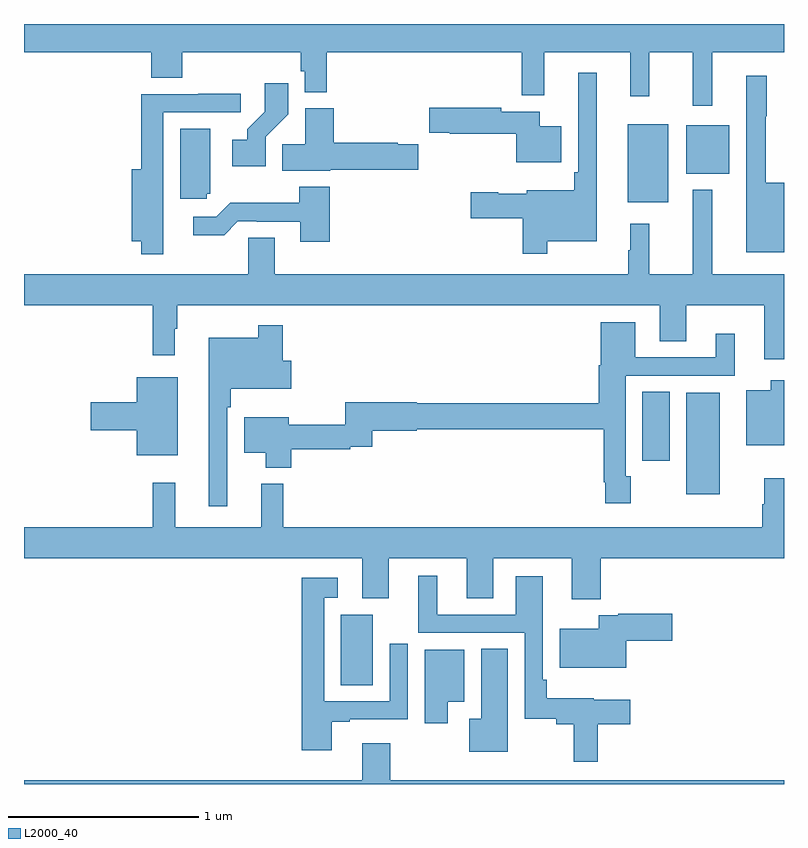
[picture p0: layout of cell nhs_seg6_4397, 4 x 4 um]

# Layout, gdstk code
import gdstk
lib = gdstk.Library(unit=1e-6, precision=1e-09)
def R(c, l, rs):  # rectangles x0, y0, x1, y1
    for r in rs: c.add(gdstk.rectangle(r[:2], r[2:], *l))
def P(c, l, *ps):  # polygons
    for p in ps: c.add(gdstk.Polygon(p, *l))
L2000_40 = (2000, 40)

nhs_seg6_4397 = lib.new_cell('nhs_seg6_4397')
R(nhs_seg6_4397, L2000_40, [(372.668,928.021,372.835,928.392), (374.486,929.024,374.662,929.56), (374.255,929.202,374.398,929.564), (374.177,930.563,374.392,930.973), (374.486,930.713,374.713,930.967)])
P(nhs_seg6_4397, L2000_40, [(374.623,931.352),(375,931.352),(375,931.5),(371,931.5),(371,931.352),(371.669,931.352),(371.669,931.216),(371.834,931.216),(371.834,931.352),(372.457,931.352),(372.457,931.251),(372.477,931.251),(372.477,931.142),(372.593,931.142),(372.593,931.352),(373.621,931.352),(373.621,931.124),(373.739,931.124),(373.739,931.352),(374.192,931.352),(374.192,931.119),(374.292,931.119),(374.292,931.352),(374.519,931.352),(374.519,931.071),(374.623,931.071)],
  [(373.753,930.356),(374.014,930.356),(374.014,931.243),(373.917,931.243),(373.917,930.721),(373.897,930.721),(373.897,930.625),(373.647,930.625),(373.647,930.607),(373.496,930.607),(373.496,930.615),(373.35,930.615),(373.35,930.478),(373.624,930.478),(373.624,930.291),(373.753,930.291)],
  [(375,930.664),(374.905,930.664),(374.905,931.015),(374.908,931.015),(374.908,931.228),(374.801,931.228),(374.801,930.299),(375,930.299)],
  [(372.273,930.907),(372.392,931.026),(372.392,931.189),(372.267,931.189),(372.267,931.037),(372.176,930.947),(372.176,930.892),(372.096,930.892),(372.096,930.752),(372.273,930.752)],
  [(371.733,931.035),(372.142,931.035),(372.142,931.134),(371.917,931.134),(371.917,931.131),(371.617,931.131),(371.617,930.736),(371.567,930.736),(371.567,930.356),(371.617,930.356),(371.617,930.288),(371.733,930.288)],
  [(373.828,930.961),(373.714,930.961),(373.714,931.039),(373.512,931.039),(373.512,931.059),(373.134,931.059),(373.134,930.928),(373.24,930.928),(373.24,930.922),(373.592,930.922),(373.592,930.773),(373.828,930.773)],
  [(372.612,930.734),(373.074,930.734),(373.074,930.867),(372.968,930.867),(372.968,930.876),(372.629,930.876),(372.629,931.057),(372.479,931.057),(372.479,930.866),(372.358,930.866),(372.358,930.728),(372.612,930.728)],
  [(371.961,930.606),(371.98,930.606),(371.98,930.95),(371.822,930.95),(371.822,930.579),(371.961,930.579)],
  [(372.608,930.643),(372.448,930.643),(372.448,930.559),(372.085,930.559),(372.012,930.486),(371.892,930.486),(371.892,930.389),(372.053,930.389),(372.126,930.462),(372.226,930.462),(372.226,930.459),(372.455,930.459),(372.455,930.354),(372.608,930.354)],
  [(375,930.184),(374.623,930.184),(374.623,930.628),(374.519,930.628),(374.519,930.184),(374.292,930.184),(374.292,930.448),(374.192,930.448),(374.192,930.308),(374.181,930.308),(374.181,930.184),(372.319,930.184),(372.319,930.374),(372.18,930.374),(372.18,930.184),(371,930.184),(371,930.02),(371.677,930.02),(371.677,929.757),(371.794,929.757),(371.794,929.897),(371.806,929.897),(371.806,930.02),(374.345,930.02),(374.345,929.83),(374.485,929.83),(374.485,930.02),(374.897,930.02),(374.897,929.736),(375,929.736)],
  [(374.193,929.121),(374.166,929.121),(374.166,929.649),(374.74,929.649),(374.74,929.869),(374.642,929.869),(374.642,929.745),(374.218,929.745),(374.218,929.929),(374.036,929.929),(374.036,929.703),(374.024,929.703),(374.024,929.504),(373.068,929.504),(373.068,929.51),(372.692,929.51),(372.692,929.39),(372.394,929.39),(372.394,929.431),(372.158,929.431),(372.158,929.243),(372.272,929.243),(372.272,929.165),(372.407,929.165),(372.407,929.262),(372.716,929.262),(372.716,929.274),(372.833,929.274),(372.833,929.36),(373.068,929.36),(373.068,929.368),(374.05,929.368),(374.05,929.089),(374.058,929.089),(374.058,928.977),(374.193,928.977)],
  [(372.069,929.483),(372.089,929.483),(372.089,929.579),(372.406,929.579),(372.406,929.727),(372.362,929.727),(372.362,929.914),(372.234,929.914),(372.234,929.848),(371.972,929.848),(371.972,928.962),(372.069,928.962)],
  [(371.809,929.641),(371.594,929.641),(371.594,929.51),(371.352,929.51),(371.352,929.363),(371.594,929.363),(371.594,929.231),(371.809,929.231)],
  [(375,929.626),(374.93,929.626),(374.93,929.572),(374.801,929.572),(374.801,929.282),(375,929.282)],
  [(374.036,928.688),(375,928.688),(375,929.11),(374.897,929.11),(374.897,928.973),(374.885,928.973),(374.885,928.852),(372.365,928.852),(372.365,929.08),(372.248,929.08),(372.248,928.852),(371.795,928.852),(371.795,929.086),(371.677,929.086),(371.677,928.852),(371,928.852),(371,928.688),(372.779,928.688),(372.779,928.477),(372.919,928.477),(372.919,928.688),(373.331,928.688),(373.331,928.477),(373.471,928.477),(373.471,928.688),(373.883,928.688),(373.883,928.473),(374.036,928.473)],
  [(374.021,927.814),(374.191,927.814),(374.191,927.943),(373.998,927.943),(373.998,927.951),(373.751,927.951),(373.751,928.048),(373.731,928.048),(373.731,928.594),(373.589,928.594),(373.589,928.392),(373.174,928.392),(373.174,928.597),(373.075,928.597),(373.075,928.296),(373.635,928.296),(373.635,927.843),(373.802,927.843),(373.802,927.814),(373.893,927.814),(373.893,927.618),(374.021,927.618)],
  [(372.619,927.828),(372.715,927.828),(372.715,927.84),(373.02,927.84),(373.02,928.237),(372.924,928.237),(372.924,927.936),(372.579,927.936),(372.579,928.479),(372.652,928.479),(372.652,928.585),(372.463,928.585),(372.463,927.678),(372.619,927.678)],
  [(374.17,928.253),(374.413,928.253),(374.413,928.395),(374.128,928.395),(374.128,928.387),(374.024,928.387),(374.024,928.318),(373.82,928.318),(373.82,928.112),(374.17,928.112)],
  [(373.546,928.211),(373.406,928.211),(373.406,927.844),(373.343,927.844),(373.343,927.671),(373.546,927.671)],
  [(373.231,927.932),(373.318,927.932),(373.318,928.207),(373.109,928.207),(373.109,927.819),(373.231,927.819)],
  [(375,927.52),(372.927,927.52),(372.927,927.715),(372.779,927.715),(372.779,927.52),(371,927.52),(371,927.5),(375,927.5)])

lib.write_gds('nhs_seg6_4397.gds')
